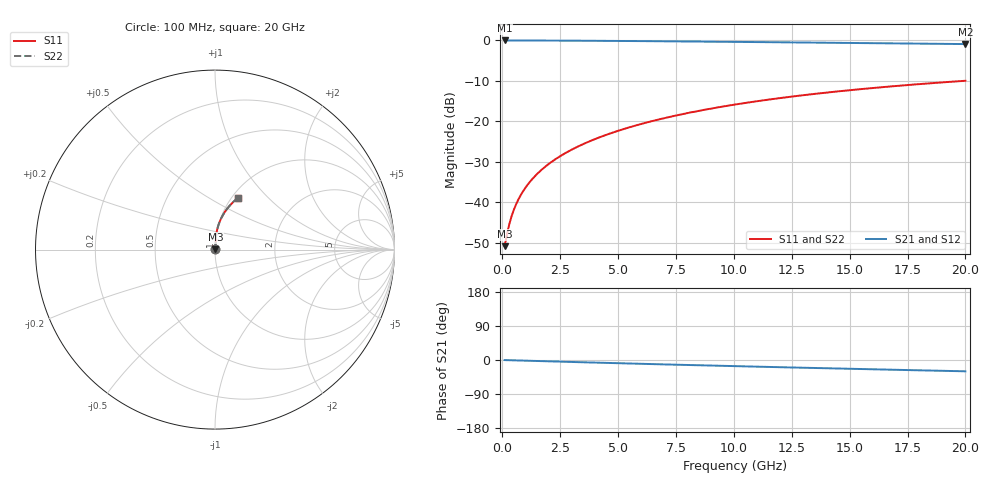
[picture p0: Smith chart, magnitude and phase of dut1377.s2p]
! Touchstone file exported from HFSS 2024.1.0
!  File:  C:/UserFiles/LocalFiles/RDL_TSV_Batchsim/temp_RDL_top_1377_1780367204.aedt
!  Generated:  10:29:16 AM Jun  2, 2026
!  Design:  RDL_top
!  Project:  temp_RDL_top_1377_1780367204
!  Setup:  Setup1
!  Solution:  Sweep
! Variables:
!  dtsv = 10.80580581um
!  hbump = 3um
!  htsv = 83.97um
!  ldown = 100um
!  lrdl = 365.1um
!  p = 40
!  p1 = 57.35um
!  rhole = 1um
!  t = 450um
!  tdown = 3.915915916um
!  trdl = 2.69um
!  wdown = 15.38538539um
!  wrdl = 22.72um
# GHz S MA R 50.000000
! Terminal data exported
! Port[1] = Box2_T1
! Port[2] = Box2_T2
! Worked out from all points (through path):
!   200 points, 100 MHz to 20 GHz, reference 50 ohm
!   highest |S21| = -0.02 dB at 100 MHz (marker M1); lowest = -0.9 dB at 20 GHz (marker M2)
!   group delay of S21, straight-line fit = 4.11 ps
!   lowest |S11| = -50.8 dB at 100 MHz (marker M3), VSWR 1.01, Z = 50.2 + j0.16 ohm
!   |S11| at or under -10 dB: start of sweep to 19.94 GHz
!   |S22| runs from -50.8 to -10.0 dB; largest |S21 - S12| = 2.8e-15
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0.1  0.002877 33.6  0.9976 -0.2  0.9976 -0.2  0.002877 33.6
! Gamma 0 0 0 0
! Port Impedance 50 0 50 0
0.2  0.004006 52.0  0.9975 -0.4  0.9975 -0.4  0.004006 52.0
0.3  0.005337 61.4  0.9974 -0.5  0.9974 -0.5  0.005337 61.4
0.4  0.006721 66.8  0.9973 -0.7  0.9973 -0.7  0.006721 66.8
0.5  0.008119 70.3  0.9971 -0.9  0.9971 -0.9  0.008119 70.3
0.6  0.009521 72.9  0.997 -1.1  0.997 -1.1  0.009521 72.9
0.8  0.01234 76.4  0.9967 -1.4  0.9967 -1.4  0.01234 76.4
1.1  0.0166 79.6  0.9963 -1.9  0.9963 -1.9  0.0166 79.6
1.3  0.01948 81.0  0.996 -2.3  0.996 -2.3  0.01948 81.0
1.6  0.02383 82.5  0.9955 -2.8  0.9955 -2.8  0.02383 82.5
2.1  0.0312 84.0  0.9944 -3.7  0.9944 -3.7  0.0312 84.0
2.7  0.04022 85.1  0.9928 -4.7  0.9928 -4.7  0.04021 85.1
3.5  0.05253 85.7  0.9902 -6.0  0.9902 -6.0  0.05252 85.7
4.2  0.06356 85.8  0.9875 -7.2  0.9875 -7.2  0.06356 85.8
5  0.07645 85.5  0.9841 -8.5  0.9841 -8.5  0.07644 85.5
5.9  0.09125 85.0  0.98 -9.9  0.98 -9.9  0.09124 85.0
6.8  0.1063 84.2  0.9755 -11.3  0.9755 -11.3  0.1063 84.2
8.4  0.1333 82.4  0.9672 -13.8  0.9672 -13.8  0.1333 82.4
10.1  0.1622 80.1  0.9579 -16.3  0.9579 -16.3  0.1621 80.1
13.4  0.2169 75.3  0.9392 -21.0  0.9392 -21.0  0.2169 75.3
16.7  0.2688 70.5  0.9199 -25.5  0.9199 -25.5  0.2688 70.5
20  0.317 65.8  0.8998 -29.8  0.8998 -29.8  0.317 65.8
